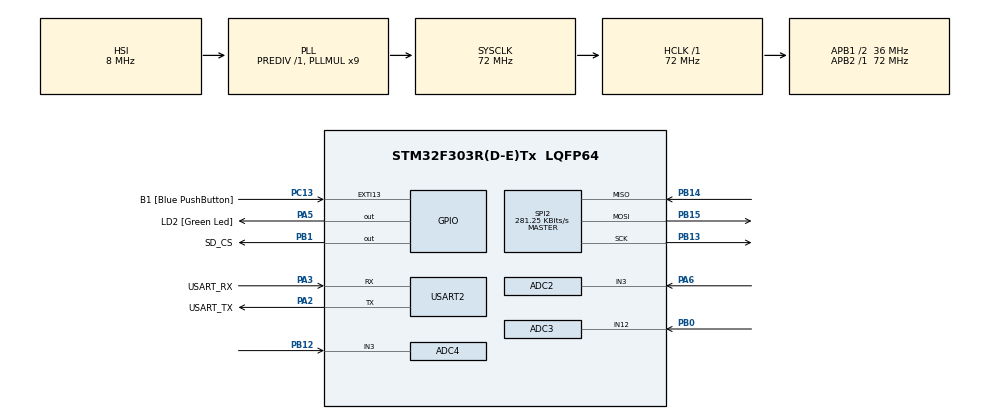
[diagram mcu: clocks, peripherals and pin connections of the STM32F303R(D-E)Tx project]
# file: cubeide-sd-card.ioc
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ADC2.Channel-0\#ChannelRegularConversion=ADC_CHANNEL_3
ADC2.NbrOfConversionFlag=1
ADC2.Offset-0\#ChannelRegularConversion=0
ADC2.OffsetNumber-0\#ChannelRegularConversion=ADC_OFFSET_NONE
ADC2.Rank-0\#ChannelRegularConversion=1
ADC2.SamplingTime-0\#ChannelRegularConversion=ADC_SAMPLETIME_1CYCLE_5
ADC2.SamplingTimeOPAMP-0\#ChannelRegularConversion=ADC_SAMPLETIME_61CYCLES_5
ADC3.Channel-0\#ChannelRegularConversion=ADC_CHANNEL_12
ADC3.NbrOfConversionFlag=1
ADC3.Offset-0\#ChannelRegularConversion=0
ADC3.OffsetNumber-0\#ChannelRegularConversion=ADC_OFFSET_NONE
ADC3.Rank-0\#ChannelRegularConversion=1
ADC3.SamplingTime-0\#ChannelRegularConversion=ADC_SAMPLETIME_1CYCLE_5
ADC3.SamplingTimeOPAMP-0\#ChannelRegularConversion=ADC_SAMPLETIME_61CYCLES_5
ADC3.master=1
ADC4.Channel-0\#ChannelRegularConversion=ADC_CHANNEL_3
ADC4.NbrOfConversionFlag=1
ADC4.Offset-0\#ChannelRegularConversion=0
ADC4.OffsetNumber-0\#ChannelRegularConversion=ADC_OFFSET_NONE
ADC4.Rank-0\#ChannelRegularConversion=1
ADC4.SamplingTime-0\#ChannelRegularConversion=ADC_SAMPLETIME_1CYCLE_5
ADC4.SamplingTimeOPAMP-0\#ChannelRegularConversion=ADC_SAMPLETIME_61CYCLES_5
Dma.ADC2.0.Direction=DMA_PERIPH_TO_MEMORY
Dma.ADC2.0.Instance=DMA2_Channel1
Dma.ADC2.0.MemDataAlignment=DMA_MDATAALIGN_HALFWORD
Dma.ADC2.0.MemInc=DMA_MINC_ENABLE
Dma.ADC2.0.Mode=DMA_CIRCULAR
Dma.ADC2.0.PeriphDataAlignment=DMA_PDATAALIGN_HALFWORD
Dma.ADC2.0.PeriphInc=DMA_PINC_DISABLE
Dma.ADC2.0.Priority=DMA_PRIORITY_LOW
Dma.ADC3.1.Direction=DMA_PERIPH_TO_MEMORY
Dma.ADC3.1.Instance=DMA2_Channel5
Dma.ADC3.1.MemDataAlignment=DMA_MDATAALIGN_HALFWORD
Dma.ADC3.1.MemInc=DMA_MINC_ENABLE
Dma.ADC3.1.Mode=DMA_CIRCULAR
Dma.ADC3.1.PeriphDataAlignment=DMA_PDATAALIGN_HALFWORD
Dma.ADC3.1.PeriphInc=DMA_PINC_DISABLE
Dma.ADC3.1.Priority=DMA_PRIORITY_LOW
Dma.ADC4.2.Direction=DMA_PERIPH_TO_MEMORY
Dma.ADC4.2.Instance=DMA2_Channel2
Dma.ADC4.2.MemDataAlignment=DMA_MDATAALIGN_HALFWORD
Dma.ADC4.2.MemInc=DMA_MINC_ENABLE
Dma.ADC4.2.Mode=DMA_NORMAL
Dma.ADC4.2.PeriphDataAlignment=DMA_PDATAALIGN_HALFWORD
Dma.ADC4.2.PeriphInc=DMA_PINC_DISABLE
Dma.ADC4.2.Priority=DMA_PRIORITY_LOW
Dma.Request0=ADC2
Dma.Request1=ADC3
Dma.Request2=ADC4
Mcu.Family=STM32F3
Mcu.Name=STM32F303R(D-E)Tx
Mcu.Package=LQFP64
NVIC.DMA2_Channel1_IRQn=true\:0\:0\:false\:false\:true\:false\:true\:true
NVIC.DMA2_Channel2_IRQn=true\:0\:0\:false\:false\:true\:false\:true\:true
NVIC.DMA2_Channel5_IRQn=true\:0\:0\:false\:false\:true\:false\:true\:true
NVIC.PriorityGroup=NVIC_PRIORITYGROUP_0
PA13.GPIO_Label=TMS
PA13.Mode=Serial_Wire
PA13.Signal=SYS_JTMS-SWDIO
PA14.GPIO_Label=TCK
PA14.Mode=Serial_Wire
PA14.Signal=SYS_JTCK-SWCLK
PA2.GPIO_Label=USART_TX
PA2.GPIO_Mode=GPIO_MODE_AF_PP
PA2.GPIO_PuPd=GPIO_NOPULL
PA2.GPIO_Speed=GPIO_SPEED_FREQ_LOW
PA2.Mode=Asynchronous
PA2.Signal=USART2_TX
PA3.GPIO_Label=USART_RX
PA3.GPIO_Mode=GPIO_MODE_AF_PP
PA3.GPIO_PuPd=GPIO_NOPULL
PA3.GPIO_Speed=GPIO_SPEED_FREQ_LOW
PA3.Mode=Asynchronous
PA3.Signal=USART2_RX
PA5.GPIO_Label=LD2 [Green Led]
PA5.GPIO_Mode=GPIO_MODE_OUTPUT_PP
PA5.GPIO_PuPd=GPIO_NOPULL
PA5.GPIO_Speed=GPIO_SPEED_FREQ_LOW
PA5.Signal=GPIO_Output
PA6.Mode=IN3-Single-Ended
PA6.Signal=ADC2_IN3
PB0.Mode=IN12-Single-Ended
PB0.Signal=ADC3_IN12
PB1.GPIO_Label=SD_CS
PB1.GPIO_Speed=GPIO_SPEED_FREQ_HIGH
PB1.PinState=GPIO_PIN_SET
PB1.Signal=GPIO_Output
PB12.Mode=IN3-Single-Ended
PB12.Signal=ADC4_IN3
PB13.Mode=Full_Duplex_Master
PB13.Signal=SPI2_SCK
PB14.Mode=Full_Duplex_Master
PB14.Signal=SPI2_MISO
PB15.Mode=Full_Duplex_Master
PB15.Signal=SPI2_MOSI
PB3.GPIO_Label=SWO
PB3.Signal=SYS_JTDO-TRACESWO
PC13.GPIO_Label=B1 [Blue PushButton]
PC13.GPIO_ModeDefaultEXTI=GPIO_MODE_IT_FALLING
PC13.Signal=GPXTI13
PC14-OSC32_IN.Mode=LSE-External-Oscillator
PC14-OSC32_IN.Signal=RCC_OSC32_IN
PC15-OSC32_OUT.Mode=LSE-External-Oscillator
PC15-OSC32_OUT.Signal=RCC_OSC32_OUT
PF0-OSC_IN.Mode=HSE-External-Clock-Source
PF0-OSC_IN.Signal=RCC_OSC_IN
PF1-OSC_OUT.Signal=RCC_OSC_OUT
ProjectManager.HeapSize=0x200
ProjectManager.StackSize=0x400
ProjectManager.TargetToolchain=STM32CubeIDE
RCC.AHBFreq_Value=72000000
RCC.APB1CLKDivider=RCC_HCLK_DIV2
RCC.APB1Freq_Value=36000000
RCC.APB1TimFreq_Value=72000000
RCC.APB2Freq_Value=72000000
RCC.APB2TimFreq_Value=72000000
RCC.CortexFreq_Value=72000000
RCC.HCLKFreq_Value=72000000
RCC.HSE_VALUE=8000000
RCC.HSI_VALUE=8000000
RCC.PLLM=8
RCC.PLLMUL=RCC_PLL_MUL9
RCC.PLLN=336
RCC.PLLP=RCC_PLLP_DIV4
RCC.PLLQ=7
RCC.RCC_PLLsource_Clock_Source_FROM_HSE=RCC_HSE_PREDIV_DIV2
RCC.SYSCLKFreq_VALUE=72000000
RCC.SYSCLKSourceVirtual=RCC_SYSCLKSOURCE_PLLCLK
RCC.USBFreq_Value=72000000
SPI2.BaudRatePrescaler=SPI_BAUDRATEPRESCALER_128
SPI2.CalculateBaudRate=281.25 KBits/s
SPI2.DataSize=SPI_DATASIZE_8BIT
SPI2.Direction=SPI_DIRECTION_2LINES
SPI2.Mode=SPI_MODE_MASTER
SPI2.VirtualType=VM_MASTER
USART2.VirtualMode-Asynchronous=VM_ASYNC
VP_FATFS_VS_Generic.Mode=User_defined
board=NUCLEO-F303RE

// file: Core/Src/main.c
/* USER CODE BEGIN Header */
/**
  ******************************************************************************
  * @file           : main.c
  * @brief          : Main program body
  ******************************************************************************
  * @attention
  *
  * <h2><center>&copy; Copyright (c) 2020 STMicroelectronics.
  * All rights reserved.</center></h2>
  *
  * This software component is licensed by ST under BSD 3-Clause license,
  * the "License"; You may not use this file except in compliance with the
  * License. You may obtain a copy of the License at:
  *                        opensource.org/licenses/BSD-3-Clause
  *
  ******************************************************************************
  */
/* USER CODE END Header */
#include "main.h"
#include "fatfs.h"

/* USER CODE BEGIN Includes */
#include <stdio.h>
#include <string.h>
#include <stdarg.h> //for va_list var arg functions
/* USER CODE END Includes */

ADC_HandleTypeDef hadc2;
ADC_HandleTypeDef hadc3;
ADC_HandleTypeDef hadc4;
DMA_HandleTypeDef hdma_adc2;
DMA_HandleTypeDef hdma_adc3;
DMA_HandleTypeDef hdma_adc4;

SPI_HandleTypeDef hspi2;

UART_HandleTypeDef huart2;

void SystemClock_Config(void);
static void MX_GPIO_Init(void);
static void MX_DMA_Init(void);
static void MX_USART2_UART_Init(void);
static void MX_SPI2_Init(void);
static void MX_ADC4_Init(void);
static void MX_ADC2_Init(void);
static void MX_ADC3_Init(void);
/* USER CODE BEGIN PFP */
void myprintf(const char *fmt, ...);
/* USER CODE END PFP */

/* USER CODE BEGIN 0 */
void myprintf(const char *fmt, ...) {
  static char buffer[256];
  va_list args;
  va_start(args, fmt);
  vsnprintf(buffer, sizeof(buffer), fmt, args);
  va_end(args);

  int len = strlen(buffer);
  HAL_UART_Transmit(&huart2, (uint8_t*)buffer, len, -1);

}
/* USER CODE END 0 */

int main(void)
{

  /* MCU Configuration--------------------------------------------------------*/

  /* Reset of all peripherals, Initializes the Flash interface and the Systick. */
  HAL_Init();

  /* Configure the system clock */
  SystemClock_Config();

  /* Initialize all configured peripherals */
  MX_GPIO_Init();
  MX_DMA_Init();
  MX_USART2_UART_Init();
  MX_SPI2_Init();
  MX_FATFS_Init();
  MX_ADC4_Init();
  MX_ADC2_Init();
  MX_ADC3_Init();
  /* USER CODE BEGIN 2 */
    HAL_Delay(1000); //a short delay is important to let the SD card settle

    //some variables for FatFs
    FATFS FatFs; 	//Fatfs handle
    FIL fil; 		//File handle
    FRESULT fres; //Result after operations

    //Open the file system
    fres = f_mount(&FatFs, "", 1); //1=mount now
  //  if (fres != FR_OK) {
  //	myprintf("f_mount error (%i)\r\n", fres);

  	//while(1);
   // }

    //Now let's try to open file "test.txt"
//    fres = f_open(&fil, "test.txt", FA_READ);
//    if (fres != FR_OK) {
//  	myprintf("f_open error (%i)\r\n", fres);
//  	while(1);
 //   }
 //   myprintf("I was able to open 'test.txt' for reading!\r\n");

    //Read 30 bytes from "test.txt" on the SD card
  //  BYTE readBuf[30];
    //We can either use f_read OR f_gets to get data out of files
    //f_gets is a wrapper on f_read that does some string formatting for us
  //  TCHAR* rres = f_gets((TCHAR*)readBuf, 30, &fil);
  //  if(rres != 0) {
  //	myprintf("Read string from 'test.txt' contents: %s\r\n", readBuf);
   // } else {
  //	myprintf("f_gets error (%i)\r\n", fres);
   // }

    //Be a tidy kiwi - don't forget to close your file!
   // f_close(&fil);

    //Now let's try and write a file "write.txt"
//    fres = f_open(&fil, "write.txt", FA_WRITE | FA_OPEN_ALWAYS | FA_CREATE_ALWAYS);
//    if(fres == FR_OK) {
//  	myprintf("I was able to open 'write.txt' for writing\r\n");
//    } else {
//  	myprintf("f_open error (%i)\r\n", fres);
//    }

    //Copy in a string
//    strncpy((char*)readBuf, "a new file is made!", 19);
//    UINT bytesWrote;
//    fres = f_write(&fil, readBuf, 19, &bytesWrote);
//    if(fres == FR_OK) {
//  	myprintf("Wrote %i bytes to 'write.txt'!\r\n", bytesWrote);
//    } else {
//  	myprintf("f_write error (%i)\r\n", fres);
//    }

    //Be a tidy kiwi - don't forget to close your file!
    //f_close(&fil);

    //We're done, so de-mount the drive
    //f_mount(NULL, "", 0);

  /* USER CODE END 2 */

  /* Infinite loop */
  /* USER CODE BEGIN WHILE */
    HAL_ADCEx_Calibration_Start(&hadc4, ADC_SINGLE_ENDED);
    char str[40];
    while (1)
    {
    /* USER CODE END WHILE */

    /* USER CODE BEGIN 3 */
        //Blink the LED every second
    	HAL_ADC_Start(&hadc4);
    	HAL_ADC_PollForConversion(&hadc4, HAL_MAX_DELAY);

    	uint32_t value = HAL_ADC_GetValue(&hadc4);
    	myprintf("ADC = %lu\r\n", value);
  	  HAL_GPIO_TogglePin(LD2_GPIO_Port, LD2_Pin);
  	  sprintf(str, "%lu", value);

  		fres = f_open(&fil, "ADC.txt", FA_WRITE | FA_OPEN_ALWAYS | FA_CREATE_ALWAYS);
  		if(fres == FR_OK) {
  		myprintf("I was able to open 'write.txt' for writing\r\n");
  		    } else {
  		  	myprintf("f_open error (%i)\r\n", fres);
  		    }
  		//char VALUE[] = (char[]h) value;
  		 strncpy((char*)str,( "a new reading is made = \r\n"), 30);
  		    UINT bytesWrote;
  		    fres = f_write(&fil, str, 40, &bytesWrote);
  		f_close(&fil);
  		HAL_Delay(3000);
    }
  /* USER CODE END 3 */
}

void SystemClock_Config(void)
{
  RCC_OscInitTypeDef RCC_OscInitStruct = {0};
  RCC_ClkInitTypeDef RCC_ClkInitStruct = {0};
  RCC_PeriphCLKInitTypeDef PeriphClkInit = {0};

  /** Initializes the RCC Oscillators according to the specified parameters
  * in the RCC_OscInitTypeDef structure.
  */
  RCC_OscInitStruct.OscillatorType = RCC_OSCILLATORTYPE_HSI;
  RCC_OscInitStruct.HSIState = RCC_HSI_ON;
  RCC_OscInitStruct.HSICalibrationValue = RCC_HSICALIBRATION_DEFAULT;
  RCC_OscInitStruct.PLL.PLLState = RCC_PLL_ON;
  RCC_OscInitStruct.PLL.PLLSource = RCC_PLLSOURCE_HSI;
  RCC_OscInitStruct.PLL.PLLMUL = RCC_PLL_MUL9;
  RCC_OscInitStruct.PLL.PREDIV = RCC_PREDIV_DIV1;
  if (HAL_RCC_OscConfig(&RCC_OscInitStruct) != HAL_OK)
  {
    Error_Handler();
  }
  /** Initializes the CPU, AHB and APB buses clocks
  */
  RCC_ClkInitStruct.ClockType = RCC_CLOCKTYPE_HCLK|RCC_CLOCKTYPE_SYSCLK
                              |RCC_CLOCKTYPE_PCLK1|RCC_CLOCKTYPE_PCLK2;
  RCC_ClkInitStruct.SYSCLKSource = RCC_SYSCLKSOURCE_PLLCLK;
  RCC_ClkInitStruct.AHBCLKDivider = RCC_SYSCLK_DIV1;
  RCC_ClkInitStruct.APB1CLKDivider = RCC_HCLK_DIV2;
  RCC_ClkInitStruct.APB2CLKDivider = RCC_HCLK_DIV1;

  if (HAL_RCC_ClockConfig(&RCC_ClkInitStruct, FLASH_LATENCY_2) != HAL_OK)
  {
    Error_Handler();
  }
  PeriphClkInit.PeriphClockSelection = RCC_PERIPHCLK_USART2|RCC_PERIPHCLK_ADC12
                              |RCC_PERIPHCLK_ADC34;
  PeriphClkInit.Usart2ClockSelection = RCC_USART2CLKSOURCE_PCLK1;
  PeriphClkInit.Adc12ClockSelection = RCC_ADC12PLLCLK_DIV1;
  PeriphClkInit.Adc34ClockSelection = RCC_ADC34PLLCLK_DIV1;
  if (HAL_RCCEx_PeriphCLKConfig(&PeriphClkInit) != HAL_OK)
  {
    Error_Handler();
  }
}

static void MX_ADC2_Init(void)
{

  ADC_ChannelConfTypeDef sConfig = {0};

  /** Common config
  */
  hadc2.Instance = ADC2;
  hadc2.Init.ClockPrescaler = ADC_CLOCK_ASYNC_DIV1;
  hadc2.Init.Resolution = ADC_RESOLUTION_12B;
  hadc2.Init.ScanConvMode = ADC_SCAN_DISABLE;
  hadc2.Init.ContinuousConvMode = DISABLE;
  hadc2.Init.DiscontinuousConvMode = DISABLE;
  hadc2.Init.ExternalTrigConvEdge = ADC_EXTERNALTRIGCONVEDGE_NONE;
  hadc2.Init.ExternalTrigConv = ADC_SOFTWARE_START;
  hadc2.Init.DataAlign = ADC_DATAALIGN_RIGHT;
  hadc2.Init.NbrOfConversion = 1;
  hadc2.Init.DMAContinuousRequests = DISABLE;
  hadc2.Init.EOCSelection = ADC_EOC_SINGLE_CONV;
  hadc2.Init.LowPowerAutoWait = DISABLE;
  hadc2.Init.Overrun = ADC_OVR_DATA_OVERWRITTEN;
  if (HAL_ADC_Init(&hadc2) != HAL_OK)
  {
    Error_Handler();
  }
  /** Configure Regular Channel
  */
  sConfig.Channel = ADC_CHANNEL_3;
  sConfig.Rank = ADC_REGULAR_RANK_1;
  sConfig.SingleDiff = ADC_SINGLE_ENDED;
  sConfig.SamplingTime = ADC_SAMPLETIME_1CYCLE_5;
  sConfig.OffsetNumber = ADC_OFFSET_NONE;
  sConfig.Offset = 0;
  if (HAL_ADC_ConfigChannel(&hadc2, &sConfig) != HAL_OK)
  {
    Error_Handler();
  }

}

static void MX_ADC3_Init(void)
{

  ADC_MultiModeTypeDef multimode = {0};
  ADC_ChannelConfTypeDef sConfig = {0};

  /** Common config
  */
  hadc3.Instance = ADC3;
  hadc3.Init.ClockPrescaler = ADC_CLOCK_ASYNC_DIV1;
  hadc3.Init.Resolution = ADC_RESOLUTION_12B;
  hadc3.Init.ScanConvMode = ADC_SCAN_DISABLE;
  hadc3.Init.ContinuousConvMode = DISABLE;
  hadc3.Init.DiscontinuousConvMode = DISABLE;
  hadc3.Init.ExternalTrigConvEdge = ADC_EXTERNALTRIGCONVEDGE_NONE;
  hadc3.Init.ExternalTrigConv = ADC_SOFTWARE_START;
  hadc3.Init.DataAlign = ADC_DATAALIGN_RIGHT;
  hadc3.Init.NbrOfConversion = 1;
  hadc3.Init.DMAContinuousRequests = DISABLE;
  hadc3.Init.EOCSelection = ADC_EOC_SINGLE_CONV;
  hadc3.Init.LowPowerAutoWait = DISABLE;
  hadc3.Init.Overrun = ADC_OVR_DATA_OVERWRITTEN;
  if (HAL_ADC_Init(&hadc3) != HAL_OK)
  {
    Error_Handler();
  }
  /** Configure the ADC multi-mode
  */
  multimode.Mode = ADC_MODE_INDEPENDENT;
  if (HAL_ADCEx_MultiModeConfigChannel(&hadc3, &multimode) != HAL_OK)
  {
    Error_Handler();
  }
  /** Configure Regular Channel
  */
  sConfig.Channel = ADC_CHANNEL_12;
  sConfig.Rank = ADC_REGULAR_RANK_1;
  sConfig.SingleDiff = ADC_SINGLE_ENDED;
  sConfig.SamplingTime = ADC_SAMPLETIME_1CYCLE_5;
  sConfig.OffsetNumber = ADC_OFFSET_NONE;
  sConfig.Offset = 0;
  if (HAL_ADC_ConfigChannel(&hadc3, &sConfig) != HAL_OK)
  {
    Error_Handler();
  }

}

static void MX_ADC4_Init(void)
{

  ADC_ChannelConfTypeDef sConfig = {0};

  /** Common config
  */
  hadc4.Instance = ADC4;
  hadc4.Init.ClockPrescaler = ADC_CLOCK_ASYNC_DIV1;
  hadc4.Init.Resolution = ADC_RESOLUTION_12B;
  hadc4.Init.ScanConvMode = ADC_SCAN_DISABLE;
  hadc4.Init.ContinuousConvMode = DISABLE;
  hadc4.Init.DiscontinuousConvMode = DISABLE;
  hadc4.Init.ExternalTrigConvEdge = ADC_EXTERNALTRIGCONVEDGE_NONE;
  hadc4.Init.ExternalTrigConv = ADC_SOFTWARE_START;
  hadc4.Init.DataAlign = ADC_DATAALIGN_RIGHT;
  hadc4.Init.NbrOfConversion = 1;
  hadc4.Init.DMAContinuousRequests = DISABLE;
  hadc4.Init.EOCSelection = ADC_EOC_SINGLE_CONV;
  hadc4.Init.LowPowerAutoWait = DISABLE;
  hadc4.Init.Overrun = ADC_OVR_DATA_OVERWRITTEN;
  if (HAL_ADC_Init(&hadc4) != HAL_OK)
  {
    Error_Handler();
  }
  /** Configure Regular Channel
  */
  sConfig.Channel = ADC_CHANNEL_3;
  sConfig.Rank = ADC_REGULAR_RANK_1;
  sConfig.SingleDiff = ADC_SINGLE_ENDED;
  sConfig.SamplingTime = ADC_SAMPLETIME_1CYCLE_5;
  sConfig.OffsetNumber = ADC_OFFSET_NONE;
  sConfig.Offset = 0;
  if (HAL_ADC_ConfigChannel(&hadc4, &sConfig) != HAL_OK)
  {
    Error_Handler();
  }

}

static void MX_SPI2_Init(void)
{

  /* SPI2 parameter configuration*/
  hspi2.Instance = SPI2;
  hspi2.Init.Mode = SPI_MODE_MASTER;
  hspi2.Init.Direction = SPI_DIRECTION_2LINES;
  hspi2.Init.DataSize = SPI_DATASIZE_8BIT;
  hspi2.Init.CLKPolarity = SPI_POLARITY_LOW;
  hspi2.Init.CLKPhase = SPI_PHASE_1EDGE;
  hspi2.Init.NSS = SPI_NSS_SOFT;
  hspi2.Init.BaudRatePrescaler = SPI_BAUDRATEPRESCALER_128;
  hspi2.Init.FirstBit = SPI_FIRSTBIT_MSB;
  hspi2.Init.TIMode = SPI_TIMODE_DISABLE;
  hspi2.Init.CRCCalculation = SPI_CRCCALCULATION_DISABLE;
  hspi2.Init.CRCPolynomial = 7;
  hspi2.Init.CRCLength = SPI_CRC_LENGTH_DATASIZE;
  hspi2.Init.NSSPMode = SPI_NSS_PULSE_ENABLE;
  if (HAL_SPI_Init(&hspi2) != HAL_OK)
  {
    Error_Handler();
  }

}

static void MX_USART2_UART_Init(void)
{

  huart2.Instance = USART2;
  huart2.Init.BaudRate = 38400;
  huart2.Init.WordLength = UART_WORDLENGTH_8B;
  huart2.Init.StopBits = UART_STOPBITS_1;
  huart2.Init.Parity = UART_PARITY_NONE;
  huart2.Init.Mode = UART_MODE_TX_RX;
  huart2.Init.HwFlowCtl = UART_HWCONTROL_NONE;
  huart2.Init.OverSampling = UART_OVERSAMPLING_16;
  huart2.Init.OneBitSampling = UART_ONE_BIT_SAMPLE_DISABLE;
  huart2.AdvancedInit.AdvFeatureInit = UART_ADVFEATURE_NO_INIT;
  if (HAL_UART_Init(&huart2) != HAL_OK)
  {
    Error_Handler();
  }

}

static void MX_DMA_Init(void)
{

  /* DMA controller clock enable */
  __HAL_RCC_DMA2_CLK_ENABLE();

  /* DMA interrupt init */
  /* DMA2_Channel1_IRQn interrupt configuration */
  HAL_NVIC_SetPriority(DMA2_Channel1_IRQn, 0, 0);
  HAL_NVIC_EnableIRQ(DMA2_Channel1_IRQn);
  /* DMA2_Channel2_IRQn interrupt configuration */
  HAL_NVIC_SetPriority(DMA2_Channel2_IRQn, 0, 0);
  HAL_NVIC_EnableIRQ(DMA2_Channel2_IRQn);
  /* DMA2_Channel5_IRQn interrupt configuration */
  HAL_NVIC_SetPriority(DMA2_Channel5_IRQn, 0, 0);
  HAL_NVIC_EnableIRQ(DMA2_Channel5_IRQn);

}

static void MX_GPIO_Init(void)
{
  GPIO_InitTypeDef GPIO_InitStruct = {0};

  /* GPIO Ports Clock Enable */
  __HAL_RCC_GPIOC_CLK_ENABLE();
  __HAL_RCC_GPIOF_CLK_ENABLE();
  __HAL_RCC_GPIOA_CLK_ENABLE();
  __HAL_RCC_GPIOB_CLK_ENABLE();

  /*Configure GPIO pin Output Level */
  HAL_GPIO_WritePin(LD2_GPIO_Port, LD2_Pin, GPIO_PIN_RESET);

  /*Configure GPIO pin Output Level */
  HAL_GPIO_WritePin(SD_CS_GPIO_Port, SD_CS_Pin, GPIO_PIN_SET);

  /*Configure GPIO pin : B1_Pin */
  GPIO_InitStruct.Pin = B1_Pin;
  GPIO_InitStruct.Mode = GPIO_MODE_IT_FALLING;
  GPIO_InitStruct.Pull = GPIO_NOPULL;
  HAL_GPIO_Init(B1_GPIO_Port, &GPIO_InitStruct);

  /*Configure GPIO pin : LD2_Pin */
  GPIO_InitStruct.Pin = LD2_Pin;
  GPIO_InitStruct.Mode = GPIO_MODE_OUTPUT_PP;
  GPIO_InitStruct.Pull = GPIO_NOPULL;
  GPIO_InitStruct.Speed = GPIO_SPEED_FREQ_LOW;
  HAL_GPIO_Init(LD2_GPIO_Port, &GPIO_InitStruct);

  /*Configure GPIO pin : SD_CS_Pin */
  GPIO_InitStruct.Pin = SD_CS_Pin;
  GPIO_InitStruct.Mode = GPIO_MODE_OUTPUT_PP;
  GPIO_InitStruct.Pull = GPIO_NOPULL;
  GPIO_InitStruct.Speed = GPIO_SPEED_FREQ_HIGH;
  HAL_GPIO_Init(SD_CS_GPIO_Port, &GPIO_InitStruct);

}

void Error_Handler(void)
{
}

/************************ (C) COPYRIGHT STMicroelectronics *****END OF FILE****/
